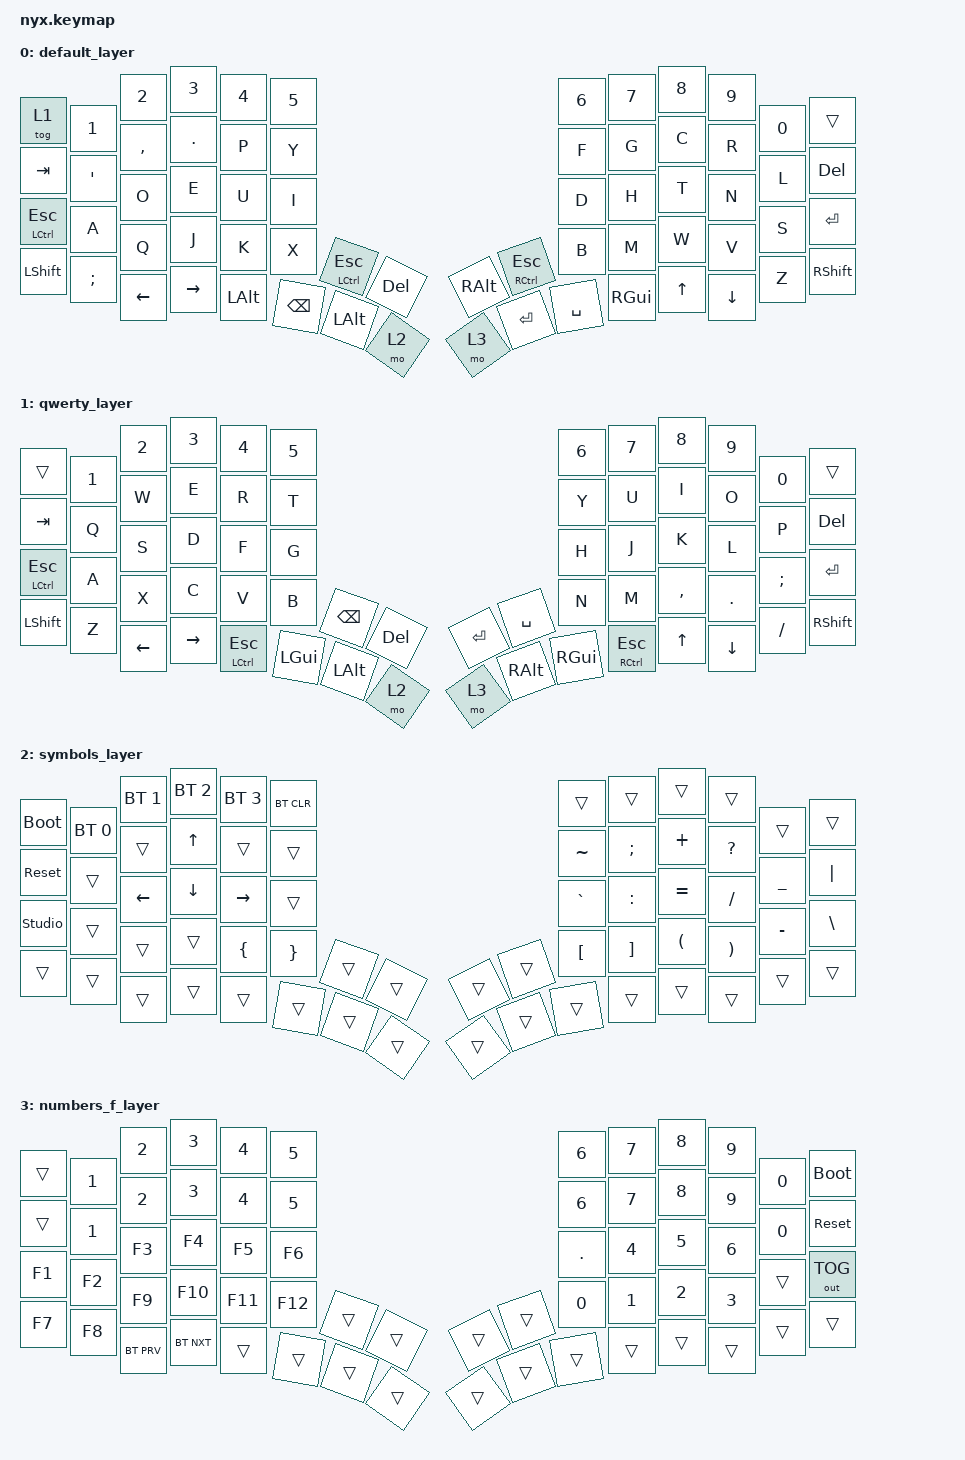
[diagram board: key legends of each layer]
// This file was generated from a template. Edit it to match your keyboard.
// See https://zmk.dev/docs/development/hardware-integration/new-shield for more instructions.

#include <behaviors.dtsi>
#include <dt-bindings/zmk/keys.h>
#include <dt-bindings/zmk/bt.h>
#include <dt-bindings/zmk/outputs.h>

/ {
    // Define a default keymap here.
    // See https://zmk.dev/docs/development/hardware-integration/new-shield#default-keymap.
    keymap {
        compatible = "zmk,keymap";

        default_layer { // layer 0
            bindings = <
&tog 1         &kp N1    &kp N2     &kp N3    &kp N4   &kp N5                                                 &kp N6    &kp N7   &kp N8 &kp N9     &kp N0    &trans
&kp TAB        &kp SQT   &kp COMMA  &kp DOT   &kp P    &kp Y                                                  &kp F     &kp G    &kp C  &kp R      &kp L     &kp DEL
&mt LCTRL ESC  &kp A     &kp O      &kp E     &kp U    &kp I                                                  &kp D     &kp H    &kp T  &kp N      &kp S     &kp RET
&kp LSHFT      &kp SEMI  &kp Q      &kp J     &kp K    &kp X    &mt LCTRL ESC &kp DEL &kp RALT  &mt RCTRL ESC &kp B     &kp M    &kp W  &kp V      &kp Z     &kp RSHFT
                         &kp LEFT   &kp RIGHT &kp LALT &kp BSPC &kp LALT      &mo 2   &mo 3     &kp RET       &kp SPACE &kp RGUI &kp UP &kp DOWN
            >;
        };

        qwerty_layer { // layer 1
            bindings = <
&trans        &kp N1    &kp N2     &kp N3    &kp N4         &kp N5                                          &kp N6    &kp N7    &kp N8     &kp N9     &kp N0    &trans
&kp TAB       &kp Q     &kp W      &kp E     &kp R          &kp T                                           &kp Y     &kp U     &kp I      &kp O      &kp P     &kp DEL
&mt LCTRL ESC &kp A     &kp S      &kp D     &kp F          &kp G                                           &kp H     &kp J     &kp K      &kp L      &kp SEMI  &kp RET
&kp LSHFT     &kp Z     &kp X      &kp C     &kp V          &kp B    &kp BSPC &kp DEL   &kp RET   &kp SPACE &kp N     &kp M     &kp COMMA  &kp DOT    &kp FSLH  &kp RSHFT
                        &kp LEFT  &kp RIGHT  &mt LCTRL ESC  &kp LGUI &kp LALT &mo 2     &mo 3     &kp RALT  &kp RGUI &mt RCTRL ESC &kp UP  &kp DOWN
            >;
        };

        symbols_layer { // layer 2
            bindings = <
&bootloader      &bt BT_SEL 0 &bt BT_SEL 1 &bt BT_SEL 2 &bt BT_SEL 3 &bt BT_CLR                            &trans    &trans    &trans     &trans     &trans    &trans
&sys_reset       &trans       &trans       &kp UP       &trans       &trans                                &kp TILDE &kp SEMI  &kp PLUS   &kp QMARK  &kp UNDER &kp PIPE
&studio_unlock   &trans       &kp LEFT     &kp DOWN     &kp RIGHT    &trans                                &kp GRAVE &kp COLON &kp EQUAL  &kp FSLH   &kp MINUS &kp BSLH
&trans           &trans       &trans       &trans       &kp LBRC     &kp RBRC  &trans &trans &trans &trans &kp LBKT  &kp RBKT  &kp LPAR   &kp RPAR   &trans    &trans
                              &trans       &trans       &trans       &trans    &trans &trans &trans &trans &trans    &trans    &trans     &trans
            >;
        };
        numbers_f_layer { // layer 3
            bindings = <
&trans    &kp N1       &kp N2       &kp N3       &kp N4       &kp N5                              &kp N6    &kp N7    &kp N8     &kp N9     &kp N0    &bootloader
&trans    &kp N1       &kp N2       &kp N3       &kp N4       &kp N5                              &kp N6    &kp N7    &kp N8     &kp N9     &kp N0    &sys_reset
&kp F1    &kp F2       &kp F3       &kp F4       &kp F5       &kp F6                              &kp DOT   &kp N4    &kp N5     &kp N6     &trans    &out OUT_TOG
&kp F7    &kp F8       &kp F9       &kp F10      &kp F11      &kp F12 &trans &trans &trans &trans &kp N0    &kp N1    &kp N2     &kp N3     &trans    &trans
                       &bt BT_PRV   &bt BT_NXT   &trans       &trans  &trans &trans &trans &trans &trans    &trans    &trans     &trans
                                               >;
        };
    };
};
